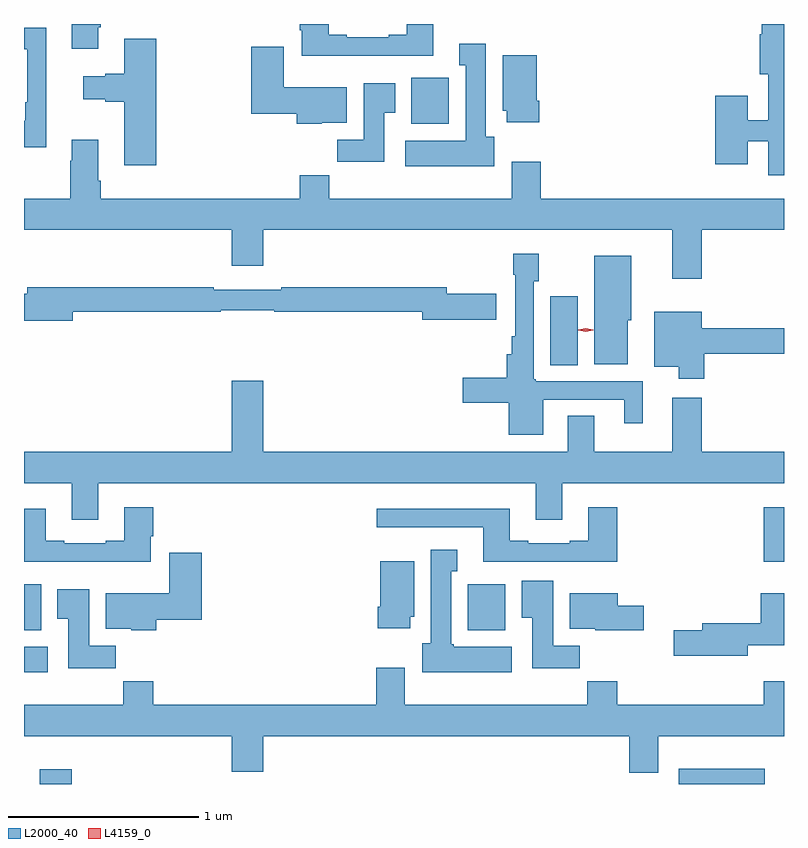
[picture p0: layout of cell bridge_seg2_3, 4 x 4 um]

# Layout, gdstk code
import gdstk
lib = gdstk.Library(unit=1e-6, precision=1e-09)
def R(c, l, rs):  # rectangles x0, y0, x1, y1
    for r in rs: c.add(gdstk.rectangle(r[:2], r[2:], *l))
def P(c, l, *ps):  # polygons
    for p in ps: c.add(gdstk.Polygon(p, *l))
L2000_40 = (2000, 40)
L4159_0 = (4159, 0)

bridge_seg2_3 = lib.new_cell('bridge_seg2_3')
R(bridge_seg2_3, L2000_40, [(883.277,592.772,883.445,592.849), (886.64,592.772,887.092,592.852), (883.194,593.36,883.318,593.494), (883.194,593.582,883.285,593.824), (885.53,593.582,885.727,593.824), (887.087,593.942,887.194,594.229), (885.965,594.976,886.108,595.339), (885.233,596.246,885.43,596.488)])
P(bridge_seg2_3, L2000_40, [(885.349,596.772),(885.209,596.772),(885.209,596.716),(885.113,596.716),(885.113,596.703),(884.893,596.703),(884.893,596.716),(884.797,596.716),(884.797,596.772),(884.645,596.772),(884.645,596.74),(884.657,596.74),(884.657,596.606),(885.349,596.606)],
  [(887.194,596.772),(887.078,596.772),(887.078,596.718),(887.066,596.718),(887.066,596.507),(887.112,596.507),(887.112,596.265),(887.002,596.265),(887.002,596.395),(886.832,596.395),(886.832,596.034),(887.002,596.034),(887.002,596.154),(887.112,596.154),(887.112,595.977),(887.194,595.977)],
  [(883.585,596.755),(883.598,596.755),(883.598,596.772),(883.445,596.772),(883.445,596.643),(883.585,596.643)],
  [(883.31,596.752),(883.194,596.752),(883.194,596.639),(883.212,596.639),(883.212,596.359),(883.2,596.359),(883.2,596.263),(883.194,596.263),(883.194,596.123),(883.31,596.123)],
  [(883.889,596.695),(883.721,596.695),(883.721,596.51),(883.622,596.51),(883.622,596.497),(883.506,596.497),(883.506,596.375),(883.622,596.375),(883.622,596.363),(883.721,596.363),(883.721,596.028),(883.889,596.028)],
  [(885.67,596.178),(885.625,596.178),(885.625,596.668),(885.485,596.668),(885.485,596.555),(885.518,596.555),(885.518,596.158),(885.201,596.158),(885.201,596.024),(885.67,596.024)],
  [(884.76,596.252),(884.893,596.252),(884.893,596.44),(884.56,596.44),(884.56,596.653),(884.39,596.653),(884.39,596.3),(884.63,596.3),(884.63,596.246),(884.76,596.246)],
  [(885.905,596.368),(885.892,596.368),(885.892,596.608),(885.713,596.608),(885.713,596.316),(885.734,596.316),(885.734,596.256),(885.905,596.256)],
  [(885.091,596.305),(885.148,596.305),(885.148,596.461),(884.981,596.461),(884.981,596.164),(884.842,596.164),(884.842,596.046),(885.091,596.046)],
  [(886.76,595.688),(887.194,595.688),(887.194,595.852),(885.914,595.852),(885.914,596.047),(885.761,596.047),(885.761,595.852),(884.801,595.852),(884.801,595.976),(884.645,595.976),(884.645,595.852),(883.598,595.852),(883.598,595.948),(883.585,595.948),(883.585,596.164),(883.445,596.164),(883.445,596.051),(883.438,596.051),(883.438,595.852),(883.194,595.852),(883.194,595.688),(884.288,595.688),(884.288,595.5),(884.452,595.5),(884.452,595.688),(886.607,595.688),(886.607,595.431),(886.76,595.431)],
  [(885.928,594.795),(886.352,594.795),(886.352,594.672),(886.45,594.672),(886.45,594.891),(885.888,594.891),(885.888,594.901),(885.876,594.901),(885.876,595.419),(885.903,595.419),(885.903,595.564),(885.768,595.564),(885.768,595.451),(885.78,595.451),(885.78,595.129),(885.76,595.129),(885.76,595.033),(885.734,595.033),(885.734,594.909),(885.504,594.909),(885.504,594.779),(885.746,594.779),(885.746,594.611),(885.928,594.611)],
  [(886.372,595.212),(886.39,595.212),(886.39,595.552),(886.196,595.552),(886.196,594.98),(886.372,594.98)],
  [(883.45,595.258),(884.229,595.258),(884.229,595.266),(884.511,595.266),(884.511,595.258),(885.29,595.258),(885.29,595.216),(885.679,595.216),(885.679,595.353),(885.418,595.353),(885.418,595.387),(884.548,595.387),(884.548,595.374),(884.192,595.374),(884.192,595.387),(883.211,595.387),(883.211,595.353),(883.194,595.353),(883.194,595.211),(883.45,595.211)],
  [(886.775,595.036),(887.194,595.036),(887.194,595.172),(886.762,595.172),(886.762,595.258),(886.511,595.258),(886.511,594.968),(886.64,594.968),(886.64,594.906),(886.775,594.906)],
  [(883.585,594.356),(885.887,594.356),(885.887,594.162),(886.027,594.162),(886.027,594.356),(887.194,594.356),(887.194,594.52),(886.76,594.52),(886.76,594.805),(886.607,594.805),(886.607,594.52),(886.195,594.52),(886.195,594.71),(886.055,594.71),(886.055,594.52),(884.452,594.52),(884.452,594.895),(884.288,594.895),(884.288,594.52),(883.194,594.52),(883.194,594.356),(883.445,594.356),(883.445,594.162),(883.585,594.162)],
  [(883.861,594.076),(883.874,594.076),(883.874,594.229),(883.721,594.229),(883.721,594.052),(883.625,594.052),(883.625,594.039),(883.405,594.039),(883.405,594.052),(883.309,594.052),(883.309,594.22),(883.194,594.22),(883.194,593.942),(883.861,593.942)],
  [(886.316,594.229),(886.163,594.229),(886.163,594.052),(886.067,594.052),(886.067,594.039),(885.847,594.039),(885.847,594.052),(885.751,594.052),(885.751,594.22),(885.051,594.22),(885.051,594.123),(885.611,594.123),(885.611,593.943),(886.075,593.943),(886.075,593.942),(886.316,593.942)],
  [(885.76,593.494),(885.456,593.494),(885.456,593.508),(885.442,593.508),(885.442,593.891),(885.475,593.891),(885.475,594.004),(885.335,594.004),(885.335,593.514),(885.29,593.514),(885.29,593.36),(885.76,593.36)],
  [(883.889,593.636),(884.129,593.636),(884.129,593.989),(883.958,593.989),(883.958,593.776),(883.625,593.776),(883.625,593.588),(883.758,593.588),(883.758,593.582),(883.889,593.582)],
  [(885.226,593.652),(885.247,593.652),(885.247,593.944),(885.068,593.944),(885.068,593.704),(885.056,593.704),(885.056,593.592),(885.226,593.592)],
  [(886.118,593.5),(885.979,593.5),(885.979,593.842),(885.815,593.842),(885.815,593.648),(885.869,593.648),(885.869,593.382),(886.118,593.382)],
  [(883.676,593.5),(883.537,593.5),(883.537,593.797),(883.37,593.797),(883.37,593.641),(883.427,593.641),(883.427,593.382),(883.676,593.382)],
  [(886.456,593.71),(886.318,593.71),(886.318,593.776),(886.067,593.776),(886.067,593.588),(886.2,593.588),(886.2,593.582),(886.456,593.582)],
  [(887.002,593.501),(887.194,593.501),(887.194,593.776),(887.072,593.776),(887.072,593.618),(886.763,593.618),(886.763,593.582),(886.614,593.582),(886.614,593.447),(887.002,593.447)],
  [(886.531,593.024),(887.194,593.024),(887.194,593.312),(887.087,593.312),(887.087,593.188),(886.316,593.188),(886.316,593.312),(886.159,593.312),(886.159,593.188),(885.199,593.188),(885.199,593.383),(885.047,593.383),(885.047,593.188),(883.874,593.188),(883.874,593.312),(883.717,593.312),(883.717,593.188),(883.194,593.188),(883.194,593.024),(884.288,593.024),(884.288,592.836),(884.452,592.836),(884.452,593.024),(886.379,593.024),(886.379,592.83),(886.531,592.83)])
P(bridge_seg2_3, L4159_0, [(886.151,595.152),(886.111,595.161),(886.111,595.162),(886.111,595.162),(886.151,595.172),(886.191,595.162),(886.191,595.162),(886.191,595.161)])

lib.write_gds('bridge_seg2_3.gds')
